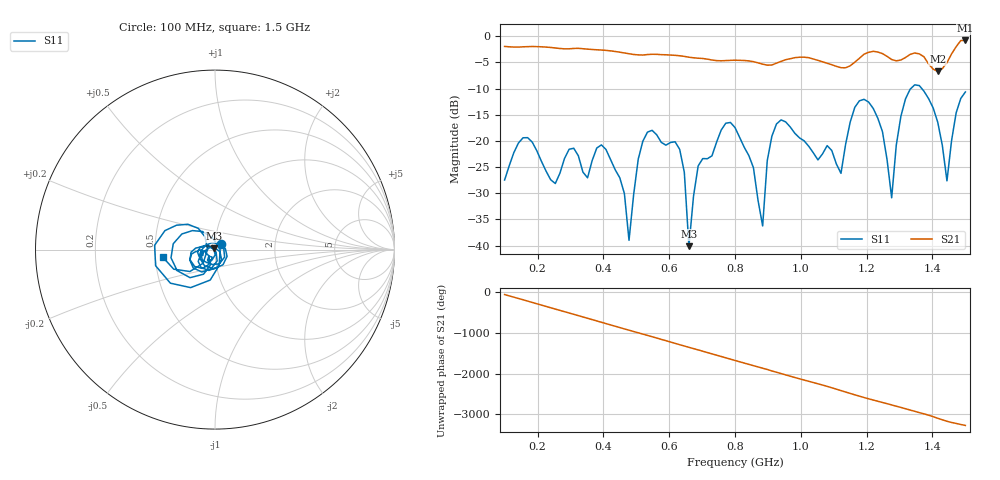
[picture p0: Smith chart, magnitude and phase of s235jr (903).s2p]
! NanoVNA-App
! Date: 2025-09-25 15:11:12
! Start: 100MHz Stop: 1,5GHz Points: 101
! S-Parameter data: F S11 S21 S12 S22
# Hz S RI R 50
!  Frequency  S11_Real  S11_Imag  S21_Real  S21_Imag  S12_Real  S12_Imag  S22_Real  S22_Imag
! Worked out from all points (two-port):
!   101 points, 100 MHz to 1.5 GHz, reference 50 ohm
!   highest |S21| = -0.82 dB at 1.5 GHz (marker M1); lowest = -6.7 dB at 1.416 GHz (marker M2)
!   |S21| within 3 dB of the highest: start of sweep to 641 MHz; 1.185 GHz to 1.261 GHz (75.78 MHz wide, 6.2 % of centre) (the widest 2 of 4)
!   lowest |S11| = -40.1 dB at 660 MHz (marker M3), VSWR 1.02, Z = 49.3 + j0.631 ohm
!   |S11| at or under -10 dB: start of sweep to 1.334 GHz; 1.367 GHz to end of sweep
!   S12 and S22 are empty: the file has one direction only
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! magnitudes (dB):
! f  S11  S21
! 100 MHz  -27.5  -2.0
! 156 MHz  -19.4  -2.0
! 338 MHz  -26.0  -2.4
! 408 MHz  -21.6  -2.7
! 478 MHz  -39.0  -3.4
! 520 MHz  -20.1  -3.6
! 576 MHz  -20.3  -3.5
! 632 MHz  -21.6  -3.7
! 660 MHz  -40.1  -4.0
! 688 MHz  -24.8  -4.2
! 800 MHz  -17.5  -4.6
! 884 MHz  -36.2  -5.4
! 926 MHz  -16.8  -5.2
! 1.038 GHz  -22.3  -4.4
! 1.122 GHz  -26.2  -6.0
! 1.192 GHz  -12.1  -3.4
! 1.248 GHz  -18.2  -3.3
! 1.276 GHz  -30.9  -4.5
! 1.332 GHz  -10.1  -3.5
! 1.416 GHz  -16.4  -6.7
! 1.444 GHz  -27.6  -5.1
! 1.5 GHz  -10.7  -0.8
